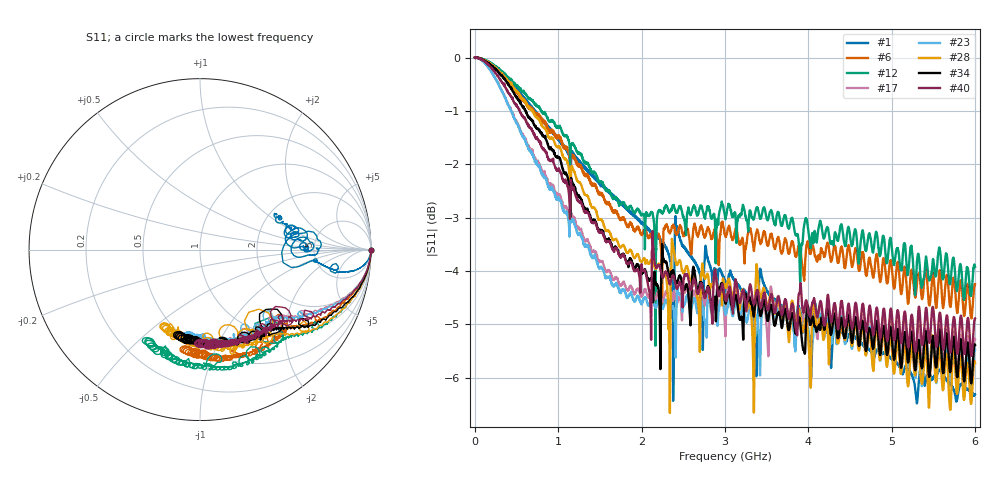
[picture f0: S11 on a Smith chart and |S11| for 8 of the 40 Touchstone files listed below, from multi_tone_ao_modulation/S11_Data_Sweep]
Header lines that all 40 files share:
!Keysight Technologies,P9374A,MY57304198,A.17.20.09
!Correction: S11(C  1-Port  )
!S21(C  1-Port  )
!S12(Off)
!S22(Off)
!S2P File: Measurements: S11, S21, S12, S22:
# Hz S  dB  R 50
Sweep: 300 kHz to 6 GHz
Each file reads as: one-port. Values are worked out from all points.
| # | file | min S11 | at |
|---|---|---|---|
| 1 | die2-3_wg10_RU_ultranarrowperiodic_bi_1mm_2024-08-20-10-34.s2p | -6.5 dB | 5.303 GHz |
| 2 | die2-3_wg10_RU_ultranarrowperiodic_bi_2mm_2024-08-20-10-30.s2p | -7.5 dB | 5.267 GHz |
| 3 | die2-3_wg10_RU_ultranarrowperiodic_bi_500um_2024-08-20-10-33.s2p | -5.3 dB | 5.767 GHz |
| 4 | die2-3_wg11_RL_midperiodic_bar_1mm_2024-08-15-13-33.s2p | -6.8 dB | 5.957 GHz |
| 5 | die2-3_wg11_RL_narrowperiodic_bar_2mm_2024-08-15-13-42.s2p | -7.4 dB | 5.95 GHz |
| 6 | die2-3_wg11_RL_wideperiodic_bar_500um_2024-08-15-13-37.s2p | -4.9 dB | 5.957 GHz |
| 7 | die2-3_wg11_RU_ultranarrowperiodic_bi_1mm_2024-08-20-10-37.s2p | -6.6 dB | 6 GHz |
| 8 | die2-3_wg11_RU_ultranarrowperiodic_bi_2mm_2024-08-20-10-41.s2p | -8.2 dB | 5.978 GHz |
| 9 | die2-3_wg11_RU_ultranarrowperiodic_bi_500um_2024-08-20-10-39.s2p | -5.3 dB | 2.228 GHz |
| 10 | die2-3_wg12_RL_midperiodic_bar_1mm_2024-08-15-15-35.s2p | -7.7 dB | 2.168 GHz |
| 11 | die2-3_wg12_RL_narrowperiodic_bar_2mm_2024-08-15-13-46.s2p | -7.6 dB | 2.165 GHz |
| 12 | die2-3_wg12_RL_wideperiodic_bar_500um_2024-08-15-15-27.s2p | -5.4 dB | 2.166 GHz |
| 13 | die2-3_wg12_RU_ultranarrowperiodic_bi_1mm_2024-08-20-13-02.s2p | -6.4 dB | 2.152 GHz |
| 14 | die2-3_wg12_RU_ultranarrowperiodic_bi_2mm_2024-08-20-10-47.s2p | -8.6 dB | 5.993 GHz |
| 15 | die2-3_wg12_RU_ultranarrowperiodic_bi_500um_2024-08-20-13-00.s2p | -6.3 dB | 2.149 GHz |
| 16 | die2-3_wg13_RL_midperiodic_bar_1mm_2024-08-15-15-40.s2p | -6.1 dB | 5.955 GHz |
| 17 | die2-3_wg13_RL_narrowperiodic_bar_2mm_2024-08-15-15-48.s2p | -6.0 dB | 5.957 GHz |
| 18 | die2-3_wg13_RL_wideperiodic_bar_500um_2024-08-15-15-43.s2p | -4.2 dB | 5.954 GHz |
| 19 | die2-3_wg13_RU_ultranarrowperiodic_bi_1mm_2024-08-20-13-04.s2p | -6.8 dB | 5.47 GHz |
| 20 | die2-3_wg13_RU_ultranarrowperiodic_bi_2mm_2024-08-20-13-08.s2p | -7.5 dB | 5.99 GHz |
| 21 | die2-3_wg13_RU_ultranarrowperiodic_bi_500um_2024-08-20-13-06.s2p | -5.1 dB | 5.455 GHz |
| 22 | die2-3_wg14_RL_midperiodic_bar_1mm_2024-08-15-16-04.s2p | -6.2 dB | 5.87 GHz |
| 23 | die2-3_wg14_RL_narrowperiodic_bar_2mm_2024-08-15-15-54.s2p | -6.3 dB | 5.872 GHz |
| 24 | die2-3_wg14_RL_wideperiodic_bar_500um_2024-08-15-16-01.s2p | -4.6 dB | 5.87 GHz |
| 25 | die2-3_wg14_RU_ultranarrowperiodic_bi_1mm_2024-08-20-13-15.s2p | -7.3 dB | 5.866 GHz |
| 26 | die2-3_wg14_RU_ultranarrowperiodic_bi_2mm_2024-08-20-13-10.s2p | -6.6 dB | 5.314 GHz |
| 27 | die2-3_wg14_RU_ultranarrowperiodic_bi_500m_2024-08-20-13-13.s2p | -4.8 dB | 2.393 GHz |
| 28 | die2-3_wg15_RL_midperiodic_bar_1mm_2024-08-15-16-07.s2p | -6.7 dB | 2.339 GHz |
| 29 | die2-3_wg15_RL_narrowperiodic_bar_2mm_2024-08-15-16-15.s2p | -7.2 dB | 5.697 GHz |
| 30 | die2-3_wg15_RL_wideperiodic_bar_500um_2024-08-15-16-11.s2p | -4.9 dB | 5.702 GHz |
| 31 | die2-3_wg15_RU_ultranarrowperiodic_bi_1mm_2024-08-20-13-17.s2p | -6.7 dB | 5.662 GHz |
| 32 | die2-3_wg15_RU_ultranarrowperiodic_bi_2mm_2024-08-20-13-22.s2p | -7.2 dB | 2.307 GHz |
| 33 | die2-3_wg15_RU_ultranarrowperiodic_bi_500um_2024-08-20-13-19.s2p | -4.8 dB | 5.65 GHz |
| 34 | die2-3_wg16_RL_midperiodic_bar_1mm_2024-08-15-16-26.s2p | -6.1 dB | 5.954 GHz |
| 35 | die2-3_wg16_RL_narrowperiodic_bar_2mm_2024-08-15-16-18.s2p | -6.0 dB | 5.452 GHz |
| 36 | die2-3_wg16_RL_wideperiodic_bar_500um_2024-08-15-16-23.s2p | -4.9 dB | 5.954 GHz |
| 37 | die2-3_wg16_RU_ultranarrowperiodic_bi_1mm_2024-08-20-13-28.s2p | -8.3 dB | 5.99 GHz |
| 38 | die2-3_wg16_RU_ultranarrowperiodic_bi_2mm_2024-08-20-13-24.s2p | -7.7 dB | 5.387 GHz |
| 39 | die2-3_wg16_RU_ultranarrowperiodic_bi_500um_2024-08-20-13-27.s2p | -5.6 dB | 5.982 GHz |
| 40 | die2-3_wg17_RL_midperiodic_bar_1mm_2024-08-15-16-29.s2p | -5.6 dB | 5.957 GHz |
